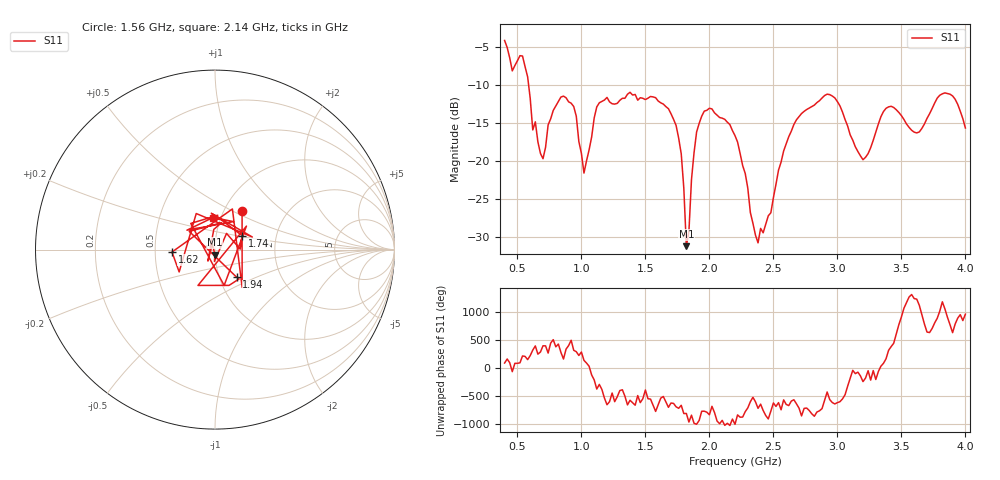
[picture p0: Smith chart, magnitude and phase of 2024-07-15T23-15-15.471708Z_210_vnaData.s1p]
!Created with skrf (http://scikit-rf.org).
# Hz S RI R 50.0
!freq ReS11 ImS11
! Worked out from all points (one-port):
!   181 points, 400 MHz to 4 GHz, reference 50 ohm
!   lowest |S11| = -31.2 dB at 1.82 GHz (marker M1), VSWR 1.06, Z = 49.8 - j2.73 ohm
!   |S11| at or under -10 dB: 587.1 MHz to end of sweep
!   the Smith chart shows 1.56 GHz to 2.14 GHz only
!   S11 on the Smith chart (normalised r, x): 1.56 GHz: 1.21, +0.56; 1.62 GHz: 0.61, -0.02; 1.74 GHz: 1.34, +0.21; 1.94 GHz: 1.21, -0.39; 2.14 GHz: 0.92, +0.34
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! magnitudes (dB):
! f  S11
! 400 MHz  -4.2
! 460 MHz  -8.2
! 540 MHz  -6.3
! 620 MHz  -16.0
! 700 MHz  -19.7
! 860 MHz  -11.5
! 940 MHz  -12.9
! 1.02 GHz  -21.6
! 1.12 GHz  -12.9
! 1.3 GHz  -12.1
! 1.56 GHz  -11.6
! 1.62 GHz  -12.4
! 1.74 GHz  -15.4
! 1.76 GHz  -17.1
! 1.82 GHz  -31.2
! 1.88 GHz  -19.0
! 1.94 GHz  -14.2
! 2.14 GHz  -14.9
! 2.2 GHz  -16.7
! 2.38 GHz  -30.8
! 2.66 GHz  -15.3
! 2.94 GHz  -11.3
! 3.1 GHz  -16.6
! 3.2 GHz  -19.9
! 3.38 GHz  -13.1
! 3.56 GHz  -15.6
! 3.84 GHz  -11.1
! 4 GHz  -15.7
